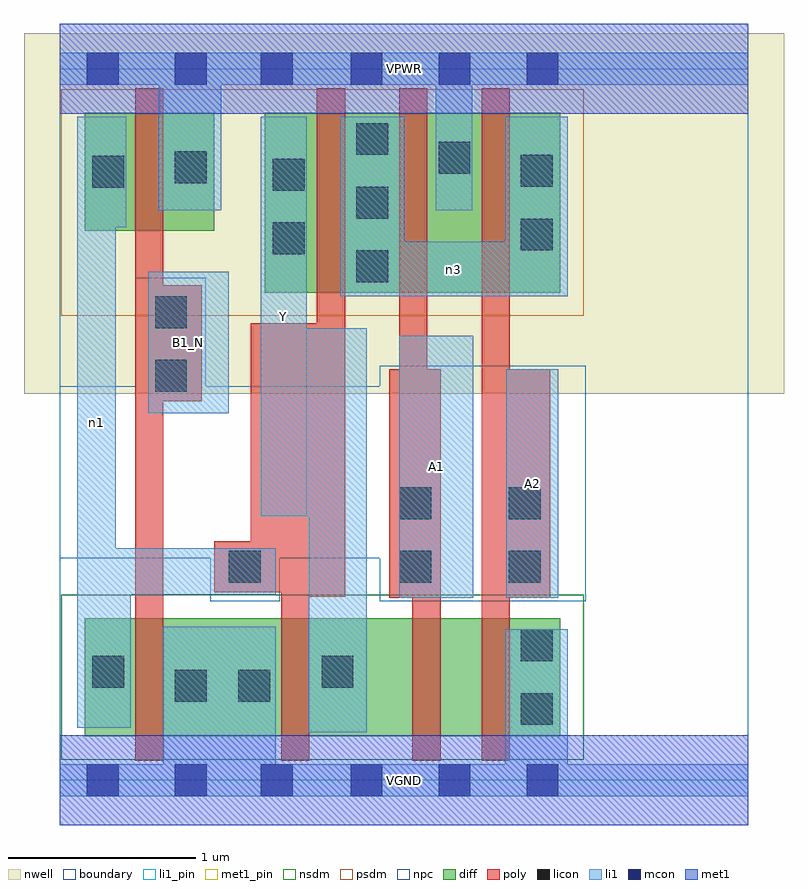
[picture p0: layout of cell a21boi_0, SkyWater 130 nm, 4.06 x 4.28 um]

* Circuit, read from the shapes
.subckt a21boi_0 A1 A2 B1_N VGND VPWR Y n1 n3
XM1 VGND B1_N n1 VSUBS sky130_fd_pr__nfet_01v8 w=0.63 l=0.15
XM2 Y n1 VGND VSUBS sky130_fd_pr__nfet_01v8 w=0.63 l=0.15
XM3 n2 A1 Y VSUBS sky130_fd_pr__nfet_01v8 w=0.63 l=0.15
XM4 VGND A2 n2 VSUBS sky130_fd_pr__nfet_01v8 w=0.63 l=0.15
XM5 VPWR B1_N n1 n4 sky130_fd_pr__pfet_01v8 w=0.63 l=0.15
XM6 n3 n1 Y n4 sky130_fd_pr__pfet_01v8 w=0.96 l=0.15
XM7 VPWR A1 n3 n4 sky130_fd_pr__pfet_01v8 w=0.96 l=0.15
XM8 n3 A2 VPWR n4 sky130_fd_pr__pfet_01v8 w=0.96 l=0.15
.ends

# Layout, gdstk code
import gdstk
lib = gdstk.Library(unit=1e-6, precision=1e-09)
def R(c, l, rs):  # rectangles x0, y0, x1, y1
    for r in rs: c.add(gdstk.rectangle(r[:2], r[2:], *l))
def A(c, l, x, y, w, h, nx, ny, dx, dy):  # array of equal rectangles
    R(c, l, [(x+i*dx, y+j*dy, x+i*dx+w, y+j*dy+h) for i in range(nx) for j in range(ny)])
nwell = (64, 20)
diff = (65, 20)
poly = (66, 20)
licon = (66, 44)
li1_pin = (67, 16)
li1 = (67, 20)
mcon = (67, 44)
met1_pin = (68, 16)
met1 = (68, 20)
nsdm = (93, 44)
psdm = (94, 20)
npc = (95, 20)
boundary = (235, 4)

a21boi_0 = lib.new_cell('a21boi_0')
R(a21boi_0, nwell, [(-0.19,2.065,3.87,3.99), (0,2.065,3.68,3.99)])
R(a21boi_0, diff, [(0.135,0.235,2.675,0.865), (1.095,2.605,2.675,3.565), (0.135,2.935,0.825,3.565)])
R(a21boi_0, poly, [(0.405,0.105,0.555,3.695), (1.185,0.105,1.335,2.44), (1.885,0.105,1.965,3.695), (1.885,0.105,2.035,2.195), (2.255,0.105,2.405,3.695), (1.76,0.975,2.035,2.195), (1.815,0.975,1.885,3.695), (2.255,0.975,2.62,2.195), (1.185,0.98,1.525,2.44), (1.375,0.98,1.525,3.695), (0.825,1.005,1.525,1.275), (1.02,1.275,1.525,2.44), (0.405,2.025,0.76,2.645)])
A(a21boi_0, licon, 1.585, 2.66, 0.17, 0.17, 1, 3, 0, 0.34)
R(a21boi_0, licon, [(2.465,0.295,2.635,0.465), (0.615,0.42,0.785,0.59), (0.955,0.42,1.125,0.59), (0.175,0.495,0.345,0.665), (1.4,0.495,1.57,0.665), (2.465,0.635,2.635,0.805), (0.905,1.055,1.075,1.225), (1.815,1.055,1.985,1.225), (2.4,1.055,2.57,1.225), (1.815,1.395,1.985,1.565), (2.4,1.395,2.57,1.565), (0.51,2.075,0.68,2.245), (0.51,2.415,0.68,2.585), (1.14,2.81,1.31,2.98), (2.465,2.83,2.635,3), (1.14,3.15,1.31,3.32), (0.175,3.165,0.345,3.335), (2.465,3.17,2.635,3.34), (0.615,3.19,0.785,3.36), (2.025,3.24,2.195,3.41)])
R(a21boi_0, li1_pin, [(1.815,0.975,2.21,2.375), (2.385,0.975,2.665,2.195), (1.075,1.41,1.32,3.545), (0.475,1.96,0.905,2.715)])
R(a21boi_0, li1, [(0,-0.085,3.68,0.085), (0.555,-0.085,1.155,0.82), (2.38,-0.085,2.715,0.805), (1.33,0.255,1.64,2.415), (0.095,0.28,0.3,3.545), (0.095,0.28,0.38,1.24), (1.815,0.975,2.21,2.375), (2.385,0.975,2.665,2.195), (0.095,0.99,1.155,1.24), (1.075,1.41,1.32,3.545), (1.075,1.41,1.64,2.415), (0.475,1.96,0.905,2.715), (1.5,2.585,2.715,2.875), (1.5,2.585,1.84,3.545), (2.38,2.585,2.715,3.545), (0.095,2.955,0.355,3.545), (0.53,3.045,0.865,3.885), (2.01,3.045,2.205,3.885), (0,3.715,3.68,3.885)])
A(a21boi_0, mcon, 1.555, -0.085, 0.17, 0.17, 3, 2, 0.47, 3.8)
R(a21boi_0, mcon, [(0.145,-0.085,0.315,0.085), (0.615,-0.085,0.785,0.085), (1.075,-0.085,1.245,0.085), (0.145,3.715,0.315,3.885), (0.615,3.715,0.785,3.885), (1.075,3.715,1.245,3.885)])
R(a21boi_0, met1_pin, [(0,-0.24,3.68,0.24), (0,3.56,3.68,4.04)])
R(a21boi_0, met1, [(0,-0.24,3.68,0.24), (0,3.56,3.68,4.04)])
R(a21boi_0, nsdm, [(0.01,0.11,2.8,0.99)])
R(a21boi_0, psdm, [(0.01,2.48,2.8,3.69)])
R(a21boi_0, npc, [(0.805,0.955,1.175,2.105), (1.71,0.955,2.81,2.215), (0,1.185,2.81,2.105), (0.405,1.185,0.78,2.685)])
R(a21boi_0, boundary, [(0,0,3.68,3.8)])
a21boi_0.add(gdstk.Label('A1', (2.012,1.675), layer=67, texttype=5))
a21boi_0.add(gdstk.Label('A2', (2.525,1.585), layer=67, texttype=5))
a21boi_0.add(gdstk.Label('B1_N', (0.69,2.337), layer=67, texttype=5))
a21boi_0.add(gdstk.Label('Y', (1.197,2.477), layer=67, texttype=5))
a21boi_0.add(gdstk.Label('n1', (0.197,1.912), layer=67, texttype=5))
a21boi_0.add(gdstk.Label('n3', (2.107,2.73), layer=67, texttype=5))
a21boi_0.add(gdstk.Label('VPWR', (1.84,3.8), layer=68, texttype=5))
a21boi_0.add(gdstk.Label('VGND', (1.84,0), layer=68, texttype=5))
a21boi_0.add(gdstk.Label('A1', (2.012,1.675), layer=67, texttype=16))
a21boi_0.add(gdstk.Label('A2', (2.525,1.585), layer=67, texttype=16))
a21boi_0.add(gdstk.Label('B1_N', (0.69,2.337), layer=67, texttype=16))
a21boi_0.add(gdstk.Label('Y', (1.197,2.477), layer=67, texttype=16))
a21boi_0.add(gdstk.Label('VPWR', (1.84,3.8), layer=68, texttype=16))
a21boi_0.add(gdstk.Label('VGND', (1.84,0), layer=68, texttype=16))

lib.write_gds('a21boi_0.gds')
